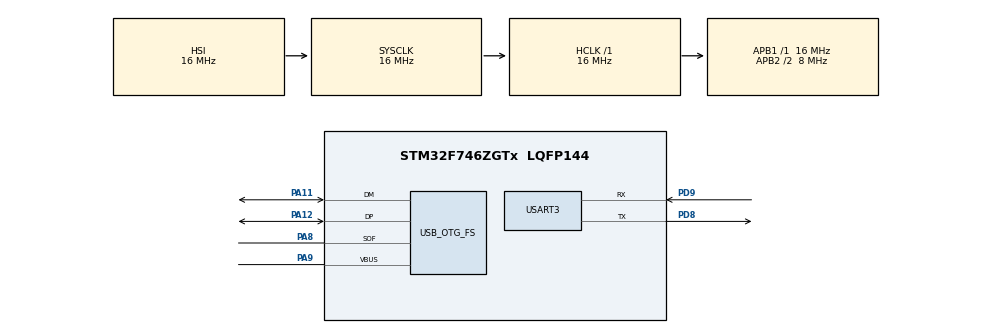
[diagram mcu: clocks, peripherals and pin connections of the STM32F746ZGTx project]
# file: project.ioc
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Mcu.Family=STM32F7
NVIC.USART3_IRQn=true\:5\:0\:false\:false\:true\:true\:true\:true
Dma.USART3_RX.0.PeriphInc=DMA_PINC_DISABLE
RCC.CortexFreq_Value=16000000
Dma.USART3_TX.1.MemInc=DMA_MINC_ENABLE
Dma.USART3_TX.1.PeriphDataAlignment=DMA_PDATAALIGN_BYTE
PA11.Mode=Device_Only
PC14/OSC32_IN.Mode=LSE-External-Oscillator
Dma.USART3_TX.1.Instance=DMA1_Stream3
PD9.Mode=Asynchronous
ProjectManager.StackSize=0x400
VP_FREERTOS_VS_CMSIS_V2.Mode=CMSIS_V2
USART3.VirtualMode-Asynchronous=VM_ASYNC
PA12.Signal=USB_OTG_FS_DP
PH0/OSC_IN.Mode=HSE-External-Clock-Source
RCC.HCLKFreq_Value=16000000
RCC.APB2TimFreq_Value=16000000
PH1/OSC_OUT.Signal=RCC_OSC_OUT
PD8.Signal=USART3_TX
RCC.AHBFreq_Value=16000000
RCC.HSE_VALUE=25000000
Dma.USART3_RX.0.MemDataAlignment=DMA_MDATAALIGN_BYTE
Dma.USART3_TX.1.Mode=DMA_NORMAL
PA14.Mode=Serial_Wire
VP_SYS_VS_tim1.Mode=TIM1
Dma.USART3_RX.0.PeriphDataAlignment=DMA_PDATAALIGN_BYTE
Dma.USART3_RX.0.FIFOMode=DMA_FIFOMODE_DISABLE
PA8.Signal=USB_OTG_FS_SOF
PH1/OSC_OUT.Mode=HSE-External-Clock-Source
Dma.USART3_TX.1.FIFOMode=DMA_FIFOMODE_DISABLE
Dma.USART3_TX.1.Priority=DMA_PRIORITY_VERY_HIGH
Dma.USART3_RX.0.Direction=DMA_PERIPH_TO_MEMORY
Mcu.Package=LQFP144
NVIC.TimeBase=TIM1_UP_TIM10_IRQn
PC14/OSC32_IN.Signal=RCC_OSC32_IN
NVIC.TimeBaseIP=TIM1
USB_OTG_FS.VirtualMode=Device_Only
Dma.USART3_RX.0.MemInc=DMA_MINC_ENABLE
RCC.APB2CLKDivider=RCC_HCLK_DIV2
Dma.Request1=USART3_TX
RCC.APB1TimFreq_Value=16000000
Dma.USART3_TX.1.PeriphInc=DMA_PINC_DISABLE
Dma.Request0=USART3_RX
Dma.USART3_RX.0.Instance=DMA1_Stream1
Dma.USART3_TX.1.MemDataAlignment=DMA_MDATAALIGN_BYTE
FREERTOS.Tasks01=defaultTask,24,3000,StartDefaultTask,Default,NULL,Dynamic,NULL,NULL
PD9.Signal=USART3_RX
NVIC.DMA1_Stream1_IRQn=true\:5\:0\:false\:false\:true\:true\:false\:true
Dma.USART3_RX.0.Mode=DMA_CIRCULAR
PA13.Signal=SYS_JTMS-SWDIO
PA9.Mode=Activate_VBUS
ProjectManager.TargetToolchain=STM32CubeIDE
PA9.Signal=USB_OTG_FS_VBUS
RCC.USBFreq_Value=48000000
PD8.Mode=Asynchronous
board=custom
RCC.VCOOutputFreq_Value=432000000
PH0/OSC_IN.Signal=RCC_OSC_IN
RCC.APB2Freq_Value=8000000
PA13.Mode=Serial_Wire
Mcu.Name=STM32F746ZGTx
RCC.SYSCLKFreq_VALUE=16000000
Dma.USART3_RX.0.Priority=DMA_PRIORITY_VERY_HIGH
PA12.Mode=Device_Only
PC15/OSC32_OUT.Mode=LSE-External-Oscillator
PA11.Signal=USB_OTG_FS_DM
PA14.Signal=SYS_JTCK-SWCLK
ProjectManager.HeapSize=0x200
NVIC.TIM1_UP_TIM10_IRQn=true\:0\:0\:false\:false\:true\:false\:false\:true
RCC.HSI_VALUE=16000000
RCC.PLLP=RCC_PLLP_DIV4
RCC.PLLQ=9
NVIC.PriorityGroup=NVIC_PRIORITYGROUP_4
Dma.USART3_TX.1.Direction=DMA_MEMORY_TO_PERIPH
RCC.PLLM=25
RCC.PLLN=432
NVIC.DMA1_Stream3_IRQn=true\:5\:0\:false\:false\:true\:true\:false\:true
PC15/OSC32_OUT.Signal=RCC_OSC32_OUT
PA8.Mode=Activate_SOF_FS
RCC.APB1Freq_Value=16000000

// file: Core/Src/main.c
 /* USER CODE BEGIN Header */
/**
  ******************************************************************************
  * @file           : main.c
  * @brief          : Main program body
  ******************************************************************************
  * @attention
  *
  * <h2><center>&copy; Copyright (c) 2021 STMicroelectronics.
  * All rights reserved.</center></h2>
  *
  * This software component is licensed by ST under Ultimate Liberty license
  * SLA0044, the "License"; You may not use this file except in compliance with
  * the License. You may obtain a copy of the License at:
  *                             www.st.com/SLA0044
  *
  ******************************************************************************
  */
/* USER CODE END Header */
#include "main.h"
#include "cmsis_os.h"

/* USER CODE BEGIN Includes */
#include <stdio.h>
#include <unistd.h>
#include <time.h>
#include <math.h>

#include <rcl/rcl.h>
#include <rcl/error_handling.h>
#include <rclc/rclc.h>
#include <rclc/executor.h>
#include <uxr/client/transport.h>
#include <rmw_microxrcedds_c/config.h>
#include <rmw_uros/options.h>

#include <std_msgs/msg/header.h>
#include <nav_msgs/msg/odometry.h>
#include <geometry_msgs/msg/point_stamped.h>

/* USER CODE END Includes */

/* USER CODE BEGIN PD */

#define STRING_BUFFER_LEN 100
/* USER CODE END PD */

UART_HandleTypeDef huart3;
DMA_HandleTypeDef hdma_usart3_rx;
DMA_HandleTypeDef hdma_usart3_tx;

PCD_HandleTypeDef hpcd_USB_OTG_FS;

/* Definitions for defaultTask */
osThreadId_t defaultTaskHandle;
const osThreadAttr_t defaultTask_attributes = {
  .name = "defaultTask",
  .stack_size = 3000 * 4,
  .priority = (osPriority_t) osPriorityNormal,
};

void SystemClock_Config(void);
static void MX_GPIO_Init(void);
static void MX_DMA_Init(void);
static void MX_USART3_UART_Init(void);
static void MX_USB_OTG_FS_PCD_Init(void);
void StartDefaultTask(void *argument);

int main(void)
{

  /* MCU Configuration--------------------------------------------------------*/

  /* Reset of all peripherals, Initializes the Flash interface and the Systick. */
  HAL_Init();

  /* Configure the system clock */
  SystemClock_Config();

  /* Initialize all configured peripherals */
  MX_GPIO_Init();
  MX_DMA_Init();
  MX_USART3_UART_Init();
  MX_USB_OTG_FS_PCD_Init();

  /* Init scheduler */
  osKernelInitialize();

  /* Create the thread(s) */
  /* creation of defaultTask */
  defaultTaskHandle = osThreadNew(StartDefaultTask, NULL, &defaultTask_attributes);

  /* Start scheduler */
  osKernelStart();

  /* We should never get here as control is now taken by the scheduler */
  /* Infinite loop */
  while (1)
  {

  }
}

void SystemClock_Config(void)
{
  RCC_OscInitTypeDef RCC_OscInitStruct = {0};
  RCC_ClkInitTypeDef RCC_ClkInitStruct = {0};
  RCC_PeriphCLKInitTypeDef PeriphClkInitStruct = {0};

  /** Configure LSE Drive Capability
  */
  HAL_PWR_EnableBkUpAccess();
  /** Configure the main internal regulator output voltage
  */
  __HAL_RCC_PWR_CLK_ENABLE();
  __HAL_PWR_VOLTAGESCALING_CONFIG(PWR_REGULATOR_VOLTAGE_SCALE3);
  /** Initializes the RCC Oscillators according to the specified parameters
  * in the RCC_OscInitTypeDef structure.
  */
  RCC_OscInitStruct.OscillatorType = RCC_OSCILLATORTYPE_HSI|RCC_OSCILLATORTYPE_HSE;
  RCC_OscInitStruct.HSEState = RCC_HSE_BYPASS;
  RCC_OscInitStruct.HSIState = RCC_HSI_ON;
  RCC_OscInitStruct.HSICalibrationValue = RCC_HSICALIBRATION_DEFAULT;
  RCC_OscInitStruct.PLL.PLLState = RCC_PLL_ON;
  RCC_OscInitStruct.PLL.PLLSource = RCC_PLLSOURCE_HSE;
  RCC_OscInitStruct.PLL.PLLM = 25;
  RCC_OscInitStruct.PLL.PLLN = 432;
  RCC_OscInitStruct.PLL.PLLP = RCC_PLLP_DIV4;
  RCC_OscInitStruct.PLL.PLLQ = 9;
  if (HAL_RCC_OscConfig(&RCC_OscInitStruct) != HAL_OK)
  {
    Error_Handler();
  }
  /** Initializes the CPU, AHB and APB buses clocks
  */
  RCC_ClkInitStruct.ClockType = RCC_CLOCKTYPE_HCLK|RCC_CLOCKTYPE_SYSCLK
                              |RCC_CLOCKTYPE_PCLK1|RCC_CLOCKTYPE_PCLK2;
  RCC_ClkInitStruct.SYSCLKSource = RCC_SYSCLKSOURCE_HSI;
  RCC_ClkInitStruct.AHBCLKDivider = RCC_SYSCLK_DIV1;
  RCC_ClkInitStruct.APB1CLKDivider = RCC_HCLK_DIV1;
  RCC_ClkInitStruct.APB2CLKDivider = RCC_HCLK_DIV2;

  if (HAL_RCC_ClockConfig(&RCC_ClkInitStruct, FLASH_LATENCY_0) != HAL_OK)
  {
    Error_Handler();
  }
  PeriphClkInitStruct.PeriphClockSelection = RCC_PERIPHCLK_USART3|RCC_PERIPHCLK_CLK48;
  PeriphClkInitStruct.Usart3ClockSelection = RCC_USART3CLKSOURCE_PCLK1;
  PeriphClkInitStruct.Clk48ClockSelection = RCC_CLK48SOURCE_PLL;
  if (HAL_RCCEx_PeriphCLKConfig(&PeriphClkInitStruct) != HAL_OK)
  {
    Error_Handler();
  }
}

static void MX_USART3_UART_Init(void)
{

  huart3.Instance = USART3;
  huart3.Init.BaudRate = 115200;
  huart3.Init.WordLength = UART_WORDLENGTH_8B;
  huart3.Init.StopBits = UART_STOPBITS_1;
  huart3.Init.Parity = UART_PARITY_NONE;
  huart3.Init.Mode = UART_MODE_TX_RX;
  huart3.Init.HwFlowCtl = UART_HWCONTROL_NONE;
  huart3.Init.OverSampling = UART_OVERSAMPLING_16;
  huart3.Init.OneBitSampling = UART_ONE_BIT_SAMPLE_DISABLE;
  huart3.AdvancedInit.AdvFeatureInit = UART_ADVFEATURE_NO_INIT;
  if (HAL_UART_Init(&huart3) != HAL_OK)
  {
    Error_Handler();
  }

}

static void MX_USB_OTG_FS_PCD_Init(void)
{

  hpcd_USB_OTG_FS.Instance = USB_OTG_FS;
  hpcd_USB_OTG_FS.Init.dev_endpoints = 6;
  hpcd_USB_OTG_FS.Init.speed = PCD_SPEED_FULL;
  hpcd_USB_OTG_FS.Init.dma_enable = DISABLE;
  hpcd_USB_OTG_FS.Init.phy_itface = PCD_PHY_EMBEDDED;
  hpcd_USB_OTG_FS.Init.Sof_enable = ENABLE;
  hpcd_USB_OTG_FS.Init.low_power_enable = DISABLE;
  hpcd_USB_OTG_FS.Init.lpm_enable = DISABLE;
  hpcd_USB_OTG_FS.Init.vbus_sensing_enable = ENABLE;
  hpcd_USB_OTG_FS.Init.use_dedicated_ep1 = DISABLE;
  if (HAL_PCD_Init(&hpcd_USB_OTG_FS) != HAL_OK)
  {
    Error_Handler();
  }

}

static void MX_DMA_Init(void)
{

  /* DMA controller clock enable */
  __HAL_RCC_DMA1_CLK_ENABLE();

  /* DMA interrupt init */
  /* DMA1_Stream1_IRQn interrupt configuration */
  HAL_NVIC_SetPriority(DMA1_Stream1_IRQn, 5, 0);
  HAL_NVIC_EnableIRQ(DMA1_Stream1_IRQn);
  /* DMA1_Stream3_IRQn interrupt configuration */
  HAL_NVIC_SetPriority(DMA1_Stream3_IRQn, 5, 0);
  HAL_NVIC_EnableIRQ(DMA1_Stream3_IRQn);

}

static void MX_GPIO_Init(void)
{

  /* GPIO Ports Clock Enable */
  __HAL_RCC_GPIOC_CLK_ENABLE();
  __HAL_RCC_GPIOH_CLK_ENABLE();
  __HAL_RCC_GPIOD_CLK_ENABLE();
  __HAL_RCC_GPIOA_CLK_ENABLE();

}

/* USER CODE BEGIN 4 */
bool cubemx_transport_open(struct uxrCustomTransport * transport);
bool cubemx_transport_close(struct uxrCustomTransport * transport);
size_t cubemx_transport_write(struct uxrCustomTransport* transport, const uint8_t * buf, size_t len, uint8_t * err);
size_t cubemx_transport_read(struct uxrCustomTransport* transport, uint8_t* buf, size_t len, int timeout, uint8_t* err);

void * microros_allocate(size_t size, void * state);
void microros_deallocate(void * pointer, void * state);
void * microros_reallocate(void * pointer, size_t size, void * state);
void * microros_zero_allocate(size_t number_of_elements, size_t size_of_element, void * state);

/* USER CODE END 4 */

void StartDefaultTask(void *argument)
{
  /* USER CODE BEGIN 5 */
  // micro-ROS configuration
	  void handle_encoders(int *enc_r, int *enc_l, double right_wheel_vel, double left_wheel_vel){
			  *enc_r = (int) right_wheel_vel * 360;
			  *enc_l = (int) left_wheel_vel * 360;
	  }

	  rmw_uros_set_custom_transport(
	    true,
	    (void *) &huart3,
	    cubemx_transport_open,
	    cubemx_transport_close,
	    cubemx_transport_write,
	    cubemx_transport_read);

	  rcl_allocator_t freeRTOS_allocator = rcutils_get_zero_initialized_allocator();
	  freeRTOS_allocator.allocate = microros_allocate;
	  freeRTOS_allocator.deallocate = microros_deallocate;
	  freeRTOS_allocator.reallocate = microros_reallocate;
	  freeRTOS_allocator.zero_allocate =  microros_zero_allocate;

	  if (!rcutils_set_default_allocator(&freeRTOS_allocator)) {
	      printf("Error on default allocators (line %d)\n", __LINE__);
	  }

	  // micro-ROS app

	  rcl_publisher_t odom_publisher;
	  rcl_publisher_t tf_publisher;
	  rcl_subscription_t cmd_vel_subscriber;

	  geometry_msgs__msg__Twist incoming_cmd_vel;
	  nav_msgs__msg__Odometry outcoming_odom;
	  geometry_msgs__msg__PointStamped outcoming_tf;

	  rcl_allocator_t allocator = rcl_get_default_allocator();
	  rclc_support_t support;
	  rcl_node_t node;

	  int seq_no = 0;
	  int seq_no_prev = 0;

	  double pos_x = 0.0;
	  double pos_y = 0.0;
	  double pos_z = 0.0;

	  double transform_x = 0.0;
	  double transform_y = 0.0;
	  double transform_z = 0.0;

	  double transform_phi = 0.0;

	  double or_x = 1.0;
	  double or_y = 0.0;
	  double or_z = 0.0;
	  double or_w = 1.0;

	  double lin_vel_x = 0.0;
	  double lin_vel_y = 0.0;
	  double lin_vel_z = 0.0;

	  double ang_vel_x = 0.0;
	  double ang_vel_y = 0.0;
	  double ang_vel_z = 0.0;

	  double left_wheel_vel = 0.0;
	  double right_wheel_vel = 0.0;

	  double radius = 0.5;
	  double width = 1.0;

	  int enc_l = 0;
	  int enc_r = 0;

	  void odom_tf_timer_callback(rcl_timer_t * timer, int64_t last_call_time)
	  {
	  	(void) last_call_time;

	  	if (timer != NULL) {

	  		transform_phi = (enc_r / 360 - enc_l / 360) * radius / width;
	  		transform_x = (enc_r / 360 + enc_l / 360) / 2 * radius * cos(transform_phi);
	  		transform_y = (enc_r / 360 + enc_l / 360) / 2 * radius * sin(transform_phi);

	  		pos_x += transform_x;
	  		pos_y += transform_y;

	  		or_x = or_x * cos(ang_vel_z) - or_y * sin(ang_vel_z);
	  		or_y = or_x * sin(ang_vel_z) + or_y * cos(ang_vel_z);

	  		seq_no_prev = seq_no;
	  		outcoming_odom.child_frame_id.data = sprintf(outcoming_odom.child_frame_id.data, "%d", seq_no_prev);
	  	    outcoming_odom.child_frame_id.size = strlen(outcoming_odom.child_frame_id.data);

	  		seq_no++;
	  		outcoming_odom.header.frame_id.data = sprintf(outcoming_odom.header.frame_id.data, "%d", seq_no);
	  		outcoming_odom.header.frame_id.size = strlen(outcoming_odom.header.frame_id.data);

	  		struct timespec ts;
	  		clock_gettime(CLOCK_REALTIME, &ts);
	  		outcoming_odom.header.stamp.sec = ts.tv_sec;
	  		outcoming_odom.header.stamp.nanosec = ts.tv_nsec;

	  		outcoming_odom.twist.twist.linear.x = lin_vel_x;
	  		outcoming_odom.twist.twist.linear.y = lin_vel_y;
	  		outcoming_odom.twist.twist.linear.z = lin_vel_z;

	  		outcoming_odom.twist.twist.angular.x = ang_vel_x;
	  		outcoming_odom.twist.twist.angular.y = ang_vel_y;
	  		outcoming_odom.twist.twist.angular.z = ang_vel_z;

	  		outcoming_odom.pose.pose.orientation.x = or_x;
	  		outcoming_odom.pose.pose.orientation.y = or_y;
		  	outcoming_odom.pose.pose.orientation.z = 0.0;
		  	outcoming_odom.pose.pose.orientation.w = 1.0;

	  		outcoming_odom.pose.pose.position.x = pos_x;
	  		outcoming_odom.pose.pose.position.y = pos_y;
	  	    outcoming_odom.pose.pose.position.z = 0.0;

	  		for (int i =0; i<36; ++i) {
	  			outcoming_odom.pose.covariance[i] = 0;
	  			outcoming_odom.twist.covariance[i] = 0;
	  		}

	  		outcoming_tf.header.frame_id.data = sprintf(outcoming_odom.header.frame_id.data, "%d", seq_no);
	  	    outcoming_tf.header.frame_id.size = strlen(outcoming_odom.header.frame_id.data);
	  	    outcoming_tf.header.stamp.sec = ts.tv_sec;
	  	  	outcoming_tf.header.stamp.nanosec = ts.tv_nsec;
	  	    outcoming_tf.point.x = transform_x;
	  	    outcoming_tf.point.y = transform_y;
	  	    outcoming_tf.point.z = 0.0;

	  		enc_l = enc_r = lin_vel_x = ang_vel_z = 0.0;
	  		rcl_publish(&odom_publisher, (const void*)&outcoming_odom, NULL);
	  		rcl_publish(&tf_publisher, (const void*)&outcoming_tf, NULL);
	  	}
	  }

	  void cmd_vel_subscription_callback(const void * msgin)
	  {
	  	geometry_msgs__msg__Twist * msg = (geometry_msgs__msg__Twist *)msgin;

	  	lin_vel_x = msg->linear.x;
	  	lin_vel_y = msg->linear.y;
	  	lin_vel_z = msg->linear.z;

	  	ang_vel_x = msg->angular.x;
	  	ang_vel_y = msg->angular.y;
	  	ang_vel_z = msg->angular.z;

	  	right_wheel_vel = (lin_vel_x + ang_vel_z * width / 2) / radius;
	  	left_wheel_vel = (lin_vel_x - ang_vel_z * width / 2) / radius;

	  	handle_encoders(&enc_r, &enc_l, right_wheel_vel, left_wheel_vel);
	  }

	  rclc_support_init(&support, 0, NULL, &allocator);
	  rclc_node_init_default(&node, "project_node", "", &support);

	  rclc_publisher_init_default(&odom_publisher, &node, ROSIDL_GET_MSG_TYPE_SUPPORT(nav_msgs, msg, Odometry), "/odom");
	  rclc_publisher_init_default(&tf_publisher, &node, ROSIDL_GET_MSG_TYPE_SUPPORT(geometry_msgs, msg, PointStamped), "/tf");
	  rclc_subscription_init_default(&cmd_vel_subscriber, &node, ROSIDL_GET_MSG_TYPE_SUPPORT(geometry_msgs, msg, Twist), "/cmd_vel");

	  rcl_timer_t timer = rcl_get_zero_initialized_timer();
	  rclc_timer_init_default(&timer, &support, RCL_MS_TO_NS(1000), odom_tf_timer_callback);

	  rclc_executor_t executor = rclc_executor_get_zero_initialized_executor();
	  rclc_executor_init(&executor, &support.context, 3, &allocator);

	  unsigned int rcl_wait_timeout = 1000;   // in ms
	  rclc_executor_set_timeout(&executor, RCL_MS_TO_NS(rcl_wait_timeout));
	  rclc_executor_add_timer(&executor, &timer);
	  rclc_executor_add_subscription(&executor, &cmd_vel_subscriber, &incoming_cmd_vel, &cmd_vel_subscription_callback, ON_NEW_DATA);

	  char outcoming_odom_header_buffer[STRING_BUFFER_LEN];
	  outcoming_odom.header.frame_id.data = outcoming_odom_header_buffer;
	  outcoming_odom.header.frame_id.capacity = STRING_BUFFER_LEN;

	  char outcoming_odom_child_buffer[STRING_BUFFER_LEN];
	  outcoming_odom.child_frame_id.data = outcoming_odom_child_buffer;
	  outcoming_odom.child_frame_id.capacity = STRING_BUFFER_LEN;

	  char outcoming_tf_buffer[STRING_BUFFER_LEN];
	  outcoming_tf.header.frame_id.data = outcoming_tf_buffer;
	  outcoming_tf.header.frame_id.capacity = STRING_BUFFER_LEN;

	  for(;;)
	  {
		  rclc_executor_spin(&executor);
	  }

	  rcl_publisher_fini(&odom_publisher, &node);
	  rcl_publisher_fini(&tf_publisher, &node);
	  rcl_subscription_fini(&cmd_vel_subscriber, &node);
	  rcl_node_fini(&node);

  /* USER CODE END 5 */
}

 /**
  * @brief  Period elapsed callback in non blocking mode
  * @note   This function is called  when TIM1 interrupt took place, inside
  * HAL_TIM_IRQHandler(). It makes a direct call to HAL_IncTick() to increment
  * a global variable "uwTick" used as application time base.
  * @param  htim : TIM handle
  * @retval None
  */
void HAL_TIM_PeriodElapsedCallback(TIM_HandleTypeDef *htim)
{
  if (htim->Instance == TIM1) {
    HAL_IncTick();
  }
}

void Error_Handler(void)
{
  __disable_irq();
  while (1)
  {
  }
}

/************************ (C) COPYRIGHT STMicroelectronics *****END OF FILE****/
